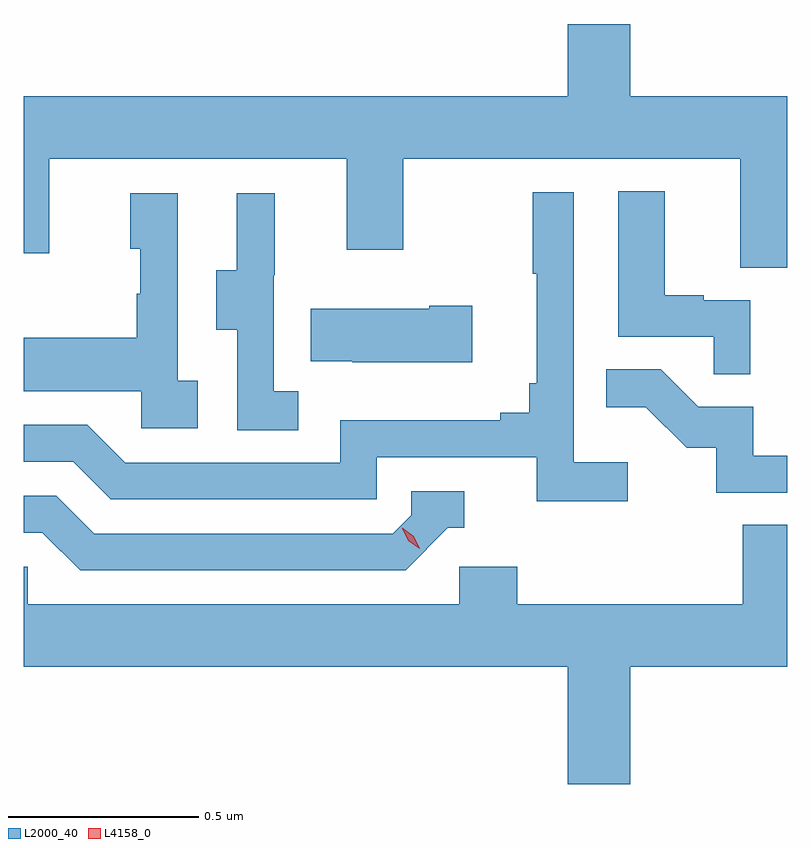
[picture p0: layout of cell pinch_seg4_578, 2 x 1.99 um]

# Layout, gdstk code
import gdstk
lib = gdstk.Library(unit=1e-6, precision=1e-09)
def P(c, l, *ps):  # polygons
    for p in ps: c.add(gdstk.Polygon(p, *l))
L2000_40 = (2000, 40)
L4158_0 = (4158, 0)

pinch_seg4_578 = lib.new_cell('pinch_seg4_578')
P(pinch_seg4_578, L2000_40, [(1112.635,777.004),(1112.224,777.004),(1112.224,777.193),(1112.06,777.193),(1112.06,777.004),(1110.635,777.004),(1110.635,776.592),(1110.701,776.592),(1110.701,776.84),(1111.481,776.84),(1111.481,776.601),(1111.629,776.601),(1111.629,776.84),(1112.513,776.84),(1112.513,776.554),(1112.635,776.554)],
  [(1112.538,776.469),(1112.417,776.469),(1112.417,776.482),(1112.314,776.482),(1112.314,776.755),(1112.192,776.755),(1112.192,776.373),(1112.443,776.373),(1112.443,776.275),(1112.538,776.275)],
  [(1112.218,776.044),(1112.076,776.044),(1112.076,776.752),(1111.968,776.752),(1111.968,776.539),(1111.979,776.539),(1111.979,776.251),(1111.96,776.251),(1111.96,776.174),(1111.883,776.174),(1111.883,776.155),(1111.464,776.155),(1111.464,776.043),(1110.9,776.043),(1110.801,776.142),(1110.635,776.142),(1110.635,776.046),(1110.764,776.046),(1110.863,775.947),(1111.56,775.947),(1111.56,776.058),(1111.979,776.058),(1111.979,775.942),(1112.218,775.942)],
  [(1111.354,776.231),(1111.29,776.231),(1111.29,776.535),(1111.292,776.535),(1111.292,776.749),(1111.193,776.749),(1111.193,776.547),(1111.139,776.547),(1111.139,776.392),(1111.194,776.392),(1111.194,776.128),(1111.354,776.128)],
  [(1111.09,776.258),(1111.038,776.258),(1111.038,776.749),(1110.914,776.749),(1110.914,776.604),(1110.94,776.604),(1110.94,776.486),(1110.93,776.486),(1110.93,776.371),(1110.635,776.371),(1110.635,776.231),(1110.942,776.231),(1110.942,776.133),(1111.09,776.133)],
  [(1111.81,776.454),(1111.697,776.454),(1111.697,776.446),(1111.387,776.446),(1111.387,776.309),(1111.495,776.309),(1111.495,776.306),(1111.81,776.306)],
  [(1112.635,776.061),(1112.547,776.061),(1112.547,776.19),(1112.402,776.19),(1112.304,776.288),(1112.161,776.288),(1112.161,776.189),(1112.265,776.189),(1112.372,776.082),(1112.449,776.082),(1112.449,775.965),(1112.635,775.965)],
  [(1111.746,775.872),(1111.789,775.872),(1111.789,775.968),(1111.65,775.968),(1111.65,775.905),(1111.602,775.857),(1110.819,775.857),(1110.72,775.956),(1110.635,775.956),(1110.635,775.86),(1110.683,775.86),(1110.782,775.761),(1111.635,775.761)],
  [(1112.224,775.508),(1112.635,775.508),(1112.635,775.88),(1112.519,775.88),(1112.519,775.672),(1111.928,775.672),(1111.928,775.77),(1111.776,775.77),(1111.776,775.672),(1110.645,775.672),(1110.645,775.77),(1110.635,775.77),(1110.635,775.508),(1112.06,775.508),(1112.06,775.201),(1112.224,775.201)])
P(pinch_seg4_578, L4158_0, [(1111.672,775.818),(1111.642,775.838),(1111.626,775.871),(1111.626,775.872),(1111.627,775.872),(1111.657,775.851),(1111.673,775.818),(1111.673,775.818)])

lib.write_gds('pinch_seg4_578.gds')
